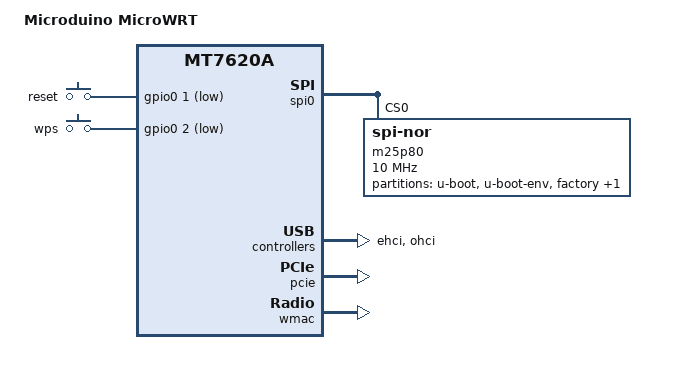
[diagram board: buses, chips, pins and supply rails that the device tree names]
/dts-v1/;

#include "mt7620a.dtsi"

#include <dt-bindings/gpio/gpio.h>
#include <dt-bindings/input/input.h>

/ {
	compatible = "microduino,microwrt", "ralink,mt7620a-soc";
	model = "Microduino MicroWRT";

	chosen {
		bootargs = "console=ttyS0,115200";
	};

	gpio-keys-polled {
		compatible = "gpio-keys-polled";
		poll-interval = <20>;

		reset {
			label = "reset";
			gpios = <&gpio0 1 GPIO_ACTIVE_LOW>;
			linux,code = <KEY_RESTART>;
		};

		wps {
			label = "wps";
			gpios = <&gpio0 2 GPIO_ACTIVE_LOW>;
			linux,code = <KEY_WPS_BUTTON>;
		};
	};
};

&gpio2 {
	status = "okay";
};

&gpio3 {
	status = "okay";
};

&spi0 {
	status = "okay";

	m25p80@0 {
		compatible = "jedec,spi-nor";
		reg = <0>;
		spi-max-frequency = <10000000>;

		partitions {
			compatible = "fixed-partitions";
			#address-cells = <1>;
			#size-cells = <1>;

			partition@0 {
				label = "u-boot";
				reg = <0x0 0x20000>;
				read-only;
			};

			partition@20000 {
				label = "u-boot-env";
				reg = <0x20000 0x10000>;
				read-only;
			};

			factory: partition@30000 {
				label = "factory";
				reg = <0x30000 0x10000>;
				read-only;
			};

			partition@40000 {
				label = "firmware";
				reg = <0x40000 0xfc0000>;
			};
		};
	};
};

&ehci {
	status = "okay";
};

&ohci {
	status = "okay";
};

&pcie {
	status = "okay";
};

&ethernet {
	pinctrl-names = "default";
	pinctrl-0 = <&ephy_pins>;
	mtd-mac-address = <&factory 0x4>;
	mediatek,portmap = "llllw";
};

&wmac {
	ralink,mtd-eeprom = <&factory 0>;
};

&pinctrl {
	state_default: pinctrl0 {
		default {
			ralink,group = "wled", "i2c", "wdt", "uartf";
			ralink,function = "gpio";
		};
	};
};
